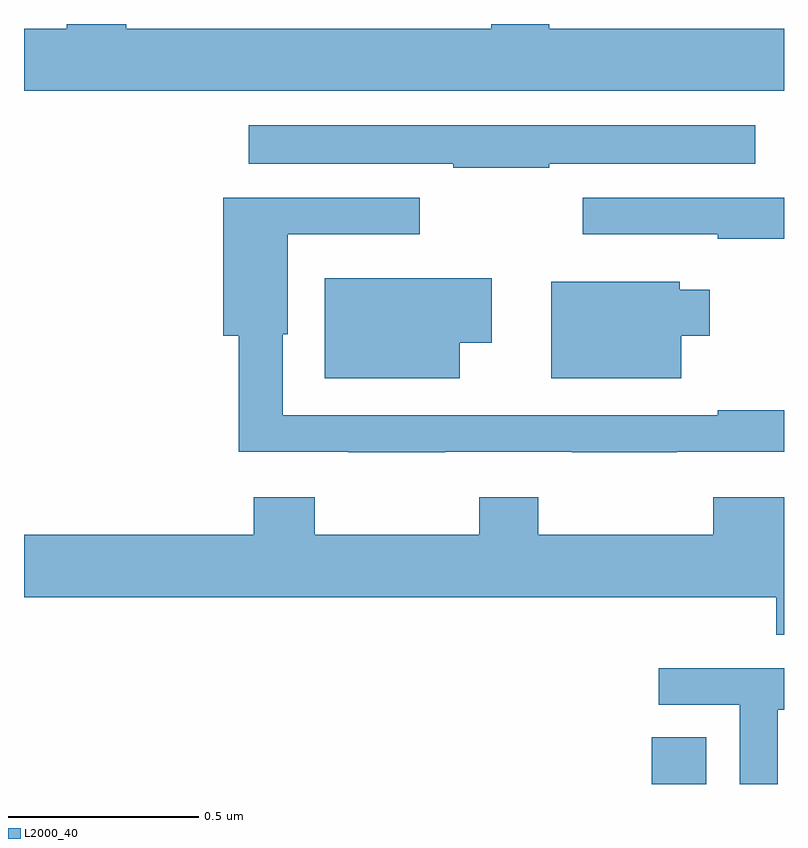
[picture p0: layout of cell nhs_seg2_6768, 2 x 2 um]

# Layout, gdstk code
import gdstk
lib = gdstk.Library(unit=1e-6, precision=1e-09)
def R(c, l, rs):  # rectangles x0, y0, x1, y1
    for r in rs: c.add(gdstk.rectangle(r[:2], r[2:], *l))
def P(c, l, *ps):  # polygons
    for p in ps: c.add(gdstk.Polygon(p, *l))
L2000_40 = (2000, 40)

nhs_seg2_6768 = lib.new_cell('nhs_seg2_6768')
R(nhs_seg2_6768, L2000_40, [(196.652,657.8,196.795,657.923)])
P(nhs_seg2_6768, L2000_40, [(197,659.788),(196.382,659.788),(196.382,659.8),(196.229,659.8),(196.229,659.788),(195.269,659.788),(195.269,659.8),(195.113,659.8),(195.113,659.788),(195,659.788),(195,659.624),(197,659.624)],
  [(196.382,659.432),(196.924,659.432),(196.924,659.533),(195.591,659.533),(195.591,659.432),(196.129,659.432),(196.129,659.422),(196.382,659.422)],
  [(197,659.343),(196.47,659.343),(196.47,659.247),(196.825,659.247),(196.825,659.235),(197,659.235)],
  [(196.109,658.674),(196.441,658.674),(196.441,658.673),(196.718,658.673),(196.718,658.674),(197,658.674),(197,658.783),(196.825,658.783),(196.825,658.77),(195.681,658.77),(195.681,658.983),(195.694,658.983),(195.694,659.247),(196.042,659.247),(196.042,659.343),(195.524,659.343),(195.524,658.979),(195.565,658.979),(195.565,658.674),(195.853,658.674),(195.853,658.673),(196.109,658.673)],
  [(196.147,658.961),(196.231,658.961),(196.231,659.131),(195.791,659.131),(195.791,658.868),(196.147,658.868)],
  [(196.729,658.979),(196.804,658.979),(196.804,659.101),(196.725,659.101),(196.725,659.122),(196.388,659.122),(196.388,658.868),(196.729,658.868)],
  [(197,658.555),(196.814,658.555),(196.814,658.456),(196.353,658.456),(196.353,658.555),(196.198,658.555),(196.198,658.456),(195.765,658.456),(195.765,658.555),(195.605,658.555),(195.605,658.456),(195,658.456),(195,658.292),(196.979,658.292),(196.979,658.193),(197,658.193)],
  [(196.983,657.996),(197,657.996),(197,658.104),(196.671,658.104),(196.671,658.008),(196.884,658.008),(196.884,657.8),(196.983,657.8)])

lib.write_gds('nhs_seg2_6768.gds')
